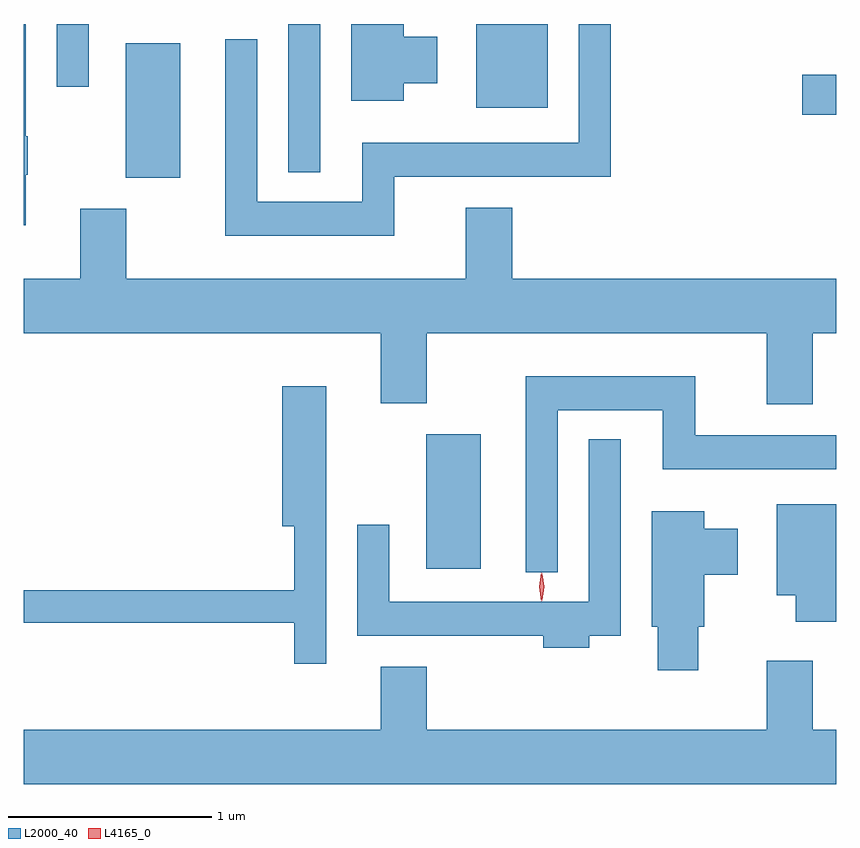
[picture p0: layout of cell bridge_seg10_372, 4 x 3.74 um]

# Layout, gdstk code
import gdstk
lib = gdstk.Library(unit=1e-6, precision=1e-09)
def R(c, l, rs):  # rectangles x0, y0, x1, y1
    for r in rs: c.add(gdstk.rectangle(r[:2], r[2:], *l))
def P(c, l, *ps):  # polygons
    for p in ps: c.add(gdstk.Polygon(p, *l))
L2000_40 = (2000, 40)
L4165_0 = (4165, 0)

bridge_seg10_372 = lib.new_cell('bridge_seg10_372')
R(bridge_seg10_372, L2000_40, [(1416.286,2112.756,1416.554,2113.419), (1414.806,2114.681,1415.074,2115.344), (1415.606,2114.708,1415.764,2115.438), (1418.136,2114.991,1418.304,2115.189), (1416.531,2115.026,1416.884,2115.438), (1414.466,2115.128,1414.624,2115.438)])
P(bridge_seg10_372, L2000_40, [(1414.314,2114.695),(1414.324,2114.695),(1414.324,2114.885),(1414.314,2114.885),(1414.314,2115.438),(1414.304,2115.438),(1414.304,2114.446),(1414.314,2114.446)],
  [(1416.129,2114.686),(1417.194,2114.686),(1417.194,2115.438),(1417.036,2115.438),(1417.036,2114.854),(1415.971,2114.854),(1415.971,2114.564),(1415.454,2114.564),(1415.454,2115.363),(1415.296,2115.363),(1415.296,2114.396),(1416.129,2114.396)],
  [(1416.174,2115.146),(1416.339,2115.146),(1416.339,2115.374),(1416.174,2115.374),(1416.174,2115.438),(1415.916,2115.438),(1415.916,2115.061),(1416.174,2115.061)],
  [(1418.189,2113.916),(1418.304,2113.916),(1418.304,2114.184),(1416.709,2114.184),(1416.709,2114.534),(1416.481,2114.534),(1416.481,2114.184),(1414.809,2114.184),(1414.809,2114.529),(1414.581,2114.529),(1414.581,2114.184),(1414.304,2114.184),(1414.304,2113.916),(1416.061,2113.916),(1416.061,2113.571),(1416.289,2113.571),(1416.289,2113.916),(1417.961,2113.916),(1417.961,2113.566),(1418.189,2113.566)],
  [(1416.934,2113.536),(1417.451,2113.536),(1417.451,2113.246),(1418.304,2113.246),(1418.304,2113.414),(1417.609,2113.414),(1417.609,2113.704),(1416.776,2113.704),(1416.776,2112.738),(1416.934,2112.738)],
  [(1415.794,2113.654),(1415.576,2113.654),(1415.576,2112.966),(1415.636,2112.966),(1415.636,2112.649),(1414.304,2112.649),(1414.304,2112.491),(1415.636,2112.491),(1415.636,2112.288),(1415.794,2112.288)],
  [(1417.089,2112.426),(1417.244,2112.426),(1417.244,2113.393),(1417.086,2113.393),(1417.086,2112.594),(1416.104,2112.594),(1416.104,2112.973),(1415.946,2112.973),(1415.946,2112.426),(1416.861,2112.426),(1416.861,2112.366),(1417.089,2112.366)],
  [(1418.304,2113.074),(1418.011,2113.074),(1418.011,2112.626),(1418.106,2112.626),(1418.106,2112.496),(1418.304,2112.496)],
  [(1417.624,2112.471),(1417.654,2112.471),(1417.654,2112.726),(1417.819,2112.726),(1417.819,2112.954),(1417.654,2112.954),(1417.654,2113.039),(1417.396,2113.039),(1417.396,2112.471),(1417.426,2112.471),(1417.426,2112.256),(1417.624,2112.256)],
  [(1418.304,2111.964),(1418.189,2111.964),(1418.189,2112.304),(1417.961,2112.304),(1417.961,2111.964),(1416.289,2111.964),(1416.289,2112.274),(1416.061,2112.274),(1416.061,2111.964),(1414.304,2111.964),(1414.304,2111.696),(1418.304,2111.696)])
P(bridge_seg10_372, L4165_0, [(1416.851,2112.597),(1416.842,2112.667),(1416.851,2112.736),(1416.852,2112.736),(1416.852,2112.736),(1416.862,2112.667),(1416.852,2112.597),(1416.852,2112.597)],
  [(1416.856,2112.599),(1416.856,2112.6),(1416.846,2112.666),(1416.856,2112.732),(1416.856,2112.733),(1416.857,2112.732),(1416.866,2112.666),(1416.857,2112.6)])

lib.write_gds('bridge_seg10_372.gds')
